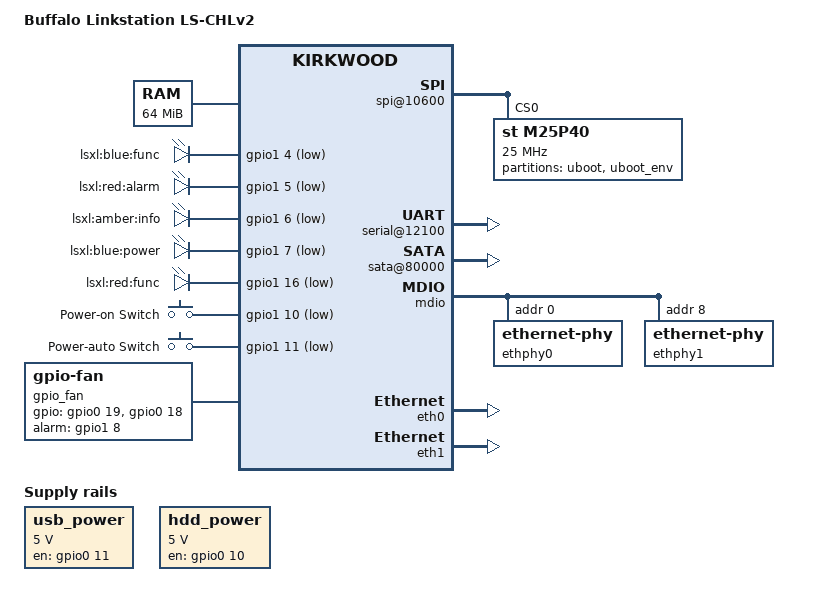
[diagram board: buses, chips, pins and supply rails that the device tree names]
// SPDX-License-Identifier: (GPL-2.0+ OR MIT)
/*
*
* Device Tree file for Buffalo Linkstation LS-CHLv2
*
*/

/dts-v1/;
#include "kirkwood.dtsi"
#include "kirkwood-6281.dtsi"

/ {
	model = "Buffalo Linkstation LS-CHLv2";
	compatible = "buffalo,lschlv2", "buffalo,lsxl", "marvell,kirkwood-88f6281", "marvell,kirkwood";

	chosen
	{
		bootargs = "console=ttyS0,115200n8 earlyprintk";
		stdout-path = &uart0;
	};

	memory
	{
		device_type = "memory"; 
		reg = <0x00000000 0x04000000>; /* 64 MB */
	};
	
	ocp@f1000000
	{
		spi@10600 
		{
			status = "okay";

			m25p40@0
			{
				#address-cells = <1>;
				#size-cells = <1>;
				compatible = "st,m25p40", "jedec,spi-nor";
				reg = <0>;
				spi-max-frequency = <25000000>;
				mode = <0>;

				partition@0
				{
					reg = <0x0 0x70000>;
					label = "uboot";
					read-only;
				};

				partition@70000
				{
					reg = <0x70000 0x10000>;
					label = "uboot_env";
					read-only;
				};
			};
		};
		
		pinctrl: pin-controller@10000
		{
			pmx_power_hdd: pmx-power-hdd
			{
				marvell,pins = "mpp10";
				marvell,function = "gpo";
			};
			pmx_usb_vbus: pmx-usb-vbus
			{
				marvell,pins = "mpp11";
				marvell,function = "gpio";
			};
			pmx_fan_high: pmx-fan-high
			{
				marvell,pins = "mpp18";
				marvell,function = "gpo";
			};
			pmx_fan_low: pmx-fan-low
			{
				marvell,pins = "mpp19";
				marvell,function = "gpo";
			};
			pmx_led_function_blue: pmx-led-function-blue {
				marvell,pins = "mpp36";
				marvell,function = "gpio";
			};
			pmx_led_alarm: pmx-led-alarm {
				marvell,pins = "mpp37";
				marvell,function = "gpio";
			};
			pmx_led_info: pmx-led-info {
				marvell,pins = "mpp38";
				marvell,function = "gpio";
			};
			pmx_led_power: pmx-led-power {
				marvell,pins = "mpp39";
				marvell,function = "gpio";
			};
			pmx_fan_lock: pmx-fan-lock {
				marvell,pins = "mpp40";
				marvell,function = "gpio";
			};
			pmx_power_switch: pmx-power-switch {
				marvell,pins = "mpp42";
				marvell,function = "gpio";
			};
			pmx_power_auto_switch: pmx-power-auto-switch {
				marvell,pins = "mpp43";
				marvell,function = "gpio";
			};
			pmx_led_function_red: pmx-led-function_red {
				marvell,pins = "mpp48";
				marvell,function = "gpio";
			};
		};
				
		serial@12100
		{
			status = "okay";
		};
		
		sata@80000
		{
			nr-ports = <1>;
			status = "okay";
		};
	};

	gpio_leds
	{
		compatible = "gpio-leds";
		pinctrl-0 = <&pmx_led_function_red &pmx_led_alarm
			     &pmx_led_info &pmx_led_power
			     &pmx_led_function_blue>;
		pinctrl-names = "default";

		func_blue
		{
			label = "lsxl:blue:func";
			gpios = <&gpio1 4 GPIO_ACTIVE_LOW>;
		};

		alarm
		{
			label = "lsxl:red:alarm";
			gpios = <&gpio1 5 GPIO_ACTIVE_LOW>;
		};

		info {
			label = "lsxl:amber:info";
			gpios = <&gpio1 6 GPIO_ACTIVE_LOW>;
		};

		power {
			label = "lsxl:blue:power";
			gpios = <&gpio1 7 GPIO_ACTIVE_LOW>;
			default-state = "keep";
		};

		func_red {
			label = "lsxl:red:func";
			gpios = <&gpio1 16 GPIO_ACTIVE_LOW>;
		};				
	};

	gpio_keys {
		compatible = "gpio-keys";
		#address-cells = <1>;
		#size-cells = <0>;
		pinctrl-0 = <&pmx_power_switch &pmx_power_auto_switch>;
		pinctrl-names = "default";

		reserved {
			label = "Power-on Switch";
			linux,code = <KEY_RESERVED>;
			linux,input-type = <5>;
			gpios = <&gpio1 10 GPIO_ACTIVE_LOW>;
		};
		power {
			label = "Power-auto Switch";
			linux,code = <KEY_ESC>;
			linux,input-type = <5>;
			gpios = <&gpio1 11 GPIO_ACTIVE_LOW>;
		};
	};


	gpio_fan {
		compatible = "gpio-fan";
		pinctrl-0 = <&pmx_fan_low &pmx_fan_high &pmx_fan_lock>;
		pinctrl-names = "default";
		gpios = <&gpio0 19 GPIO_ACTIVE_HIGH
			 &gpio0 18 GPIO_ACTIVE_HIGH>;
		gpio-fan,speed-map = <0    3
				      1500 2
				      3250 1
				      5000 0>;
		alarm-gpios = <&gpio1 8 GPIO_ACTIVE_HIGH>;
	};

	restart_poweroff
	{
		compatible = "restart-poweroff";
	};

	regulators
	{
		compatible = "simple-bus";
		#address-cells = <1>;
		#size-cells = <0>;
		pinctrl-0 = <&pmx_power_hdd &pmx_usb_vbus>;
		pinctrl-names = "default";

		usb_power: regulator@1
		{
			compatible = "regulator-fixed";
			reg = <1>;
			regulator-name = "USB Power";
			regulator-min-microvolt = <5000000>;
			regulator-max-microvolt = <5000000>;
			enable-active-high;
			regulator-always-on;
			regulator-boot-on;
			gpio = <&gpio0 11 0>;
		};

		hdd_power: regulator@2
		{
			compatible = "regulator-fixed";
			reg = <2>;
			regulator-name = "HDD Power";
			regulator-min-microvolt = <5000000>;
			regulator-max-microvolt = <5000000>;
			enable-active-high;
			regulator-always-on;
			regulator-boot-on;
			gpio = <&gpio0 10 0>;
		};
	};
};

&mdio 
{
	status = "okay";
	ethphy0: ethernet-phy@0 
	{
		device_type = "ethernet-phy";
		reg = <0>;
	};

	ethphy1: ethernet-phy@8
	{
		device_type = "ethernet-phy";
		reg = <8>;
	};
};

&eth0 
{
	status = "okay";
	ethernet0-port@0 
	{
		phy-handle = <&ethphy0>;
	};
};

&eth1
{
	status = "okay";
	ethernet1-port@0
	{
		phy-handle = <&ethphy1>;
	};
};
